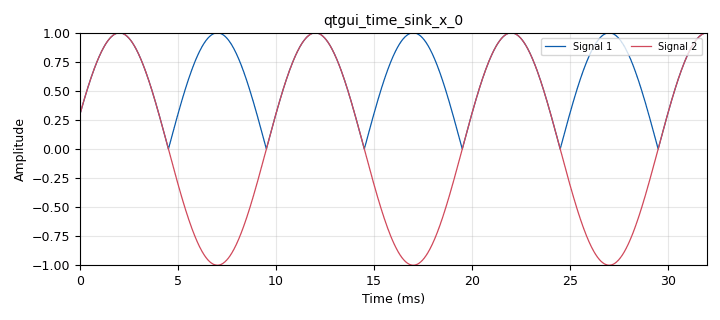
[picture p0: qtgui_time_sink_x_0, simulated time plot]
options:
  parameters:
    generate_options: qt_gui
    id: Abs
    output_language: python
    title: Not titled yet
  states: {}

blocks:
- name: samp_rate
  id: variable
  parameters:
    value: '32000'
  states: {}
- name: analog_sig_source_x_0
  id: analog_sig_source_x
  parameters:
    amp: '1'
    freq: '100'
    offset: '0'
    phase: '0'
    samp_rate: samp_rate
    type: float
    waveform: analog.GR_COS_WAVE
  states: {}
- name: blocks_abs_xx_0
  id: blocks_abs_xx
  parameters:
    type: float
  states: {}
- name: blocks_throttle_0
  id: blocks_throttle
  parameters:
    samples_per_second: samp_rate
    type: float
  states: {}
- name: qtgui_time_sink_x_0
  id: qtgui_time_sink_x
  parameters:
    nconnections: '2'
    size: '1024'
    srate: samp_rate
    type: float
  states: {}

connections:
- [analog_sig_source_x_0, '0', blocks_throttle_0, '0']
- [blocks_abs_xx_0, '0', qtgui_time_sink_x_0, '0']
- [blocks_throttle_0, '0', blocks_abs_xx_0, '0']
- [blocks_throttle_0, '0', qtgui_time_sink_x_0, '1']

metadata:
  file_format: 1
  grc_version: 3.10.8.0
